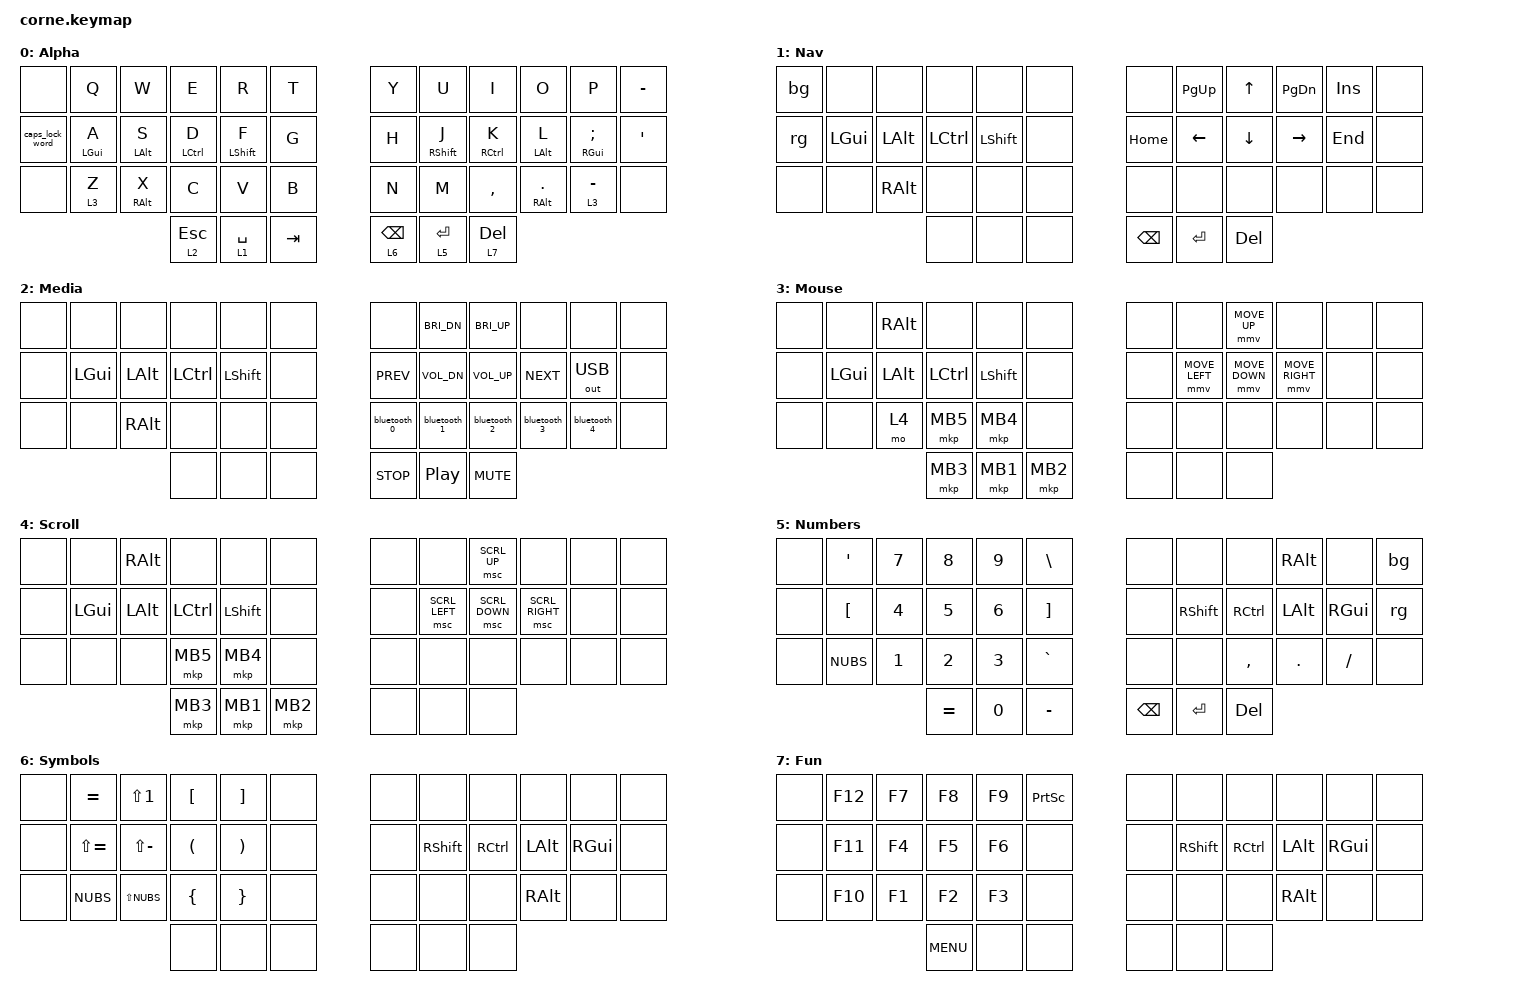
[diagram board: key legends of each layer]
/*
 * Copyright (c) 2020 The ZMK Contributors
 *
 * SPDX-License-Identifier: MIT
 */

#include <behaviors.dtsi>
#include <dt-bindings/zmk/bt.h>
#include <dt-bindings/zmk/keys.h>
#include <dt-bindings/zmk/outputs.h>
#include <dt-bindings/zmk/pointing.h>
#include <dt-bindings/zmk/input_transform.h>

/ {
    macros {
        bt_0: bt_0 {
            compatible = "zmk,behavior-macro";
            #binding-cells = <0>;
            bindings = <&out OUT_BLE &bt BT_SEL 0>;
            label = "BT_0";
        };

        bt_1: bt_1 {
            compatible = "zmk,behavior-macro";
            #binding-cells = <0>;
            bindings = <&out OUT_BLE &bt BT_SEL 1>;
            label = "BT_1";
        };

        bt_2: bt_2 {
            compatible = "zmk,behavior-macro";
            #binding-cells = <0>;
            bindings = <&out OUT_BLE &bt BT_SEL 2>;
            label = "BT_2";
        };

        bt_3: bt_3 {
            compatible = "zmk,behavior-macro";
            #binding-cells = <0>;
            bindings = <&out OUT_BLE &bt BT_SEL 3>;
            label = "BT_3";
        };

        bt_4: bt_4 {
            compatible = "zmk,behavior-macro";
            #binding-cells = <0>;
            bindings = <&out OUT_BLE &bt BT_SEL 4>;
            label = "BT_4";
        };
    };

    behaviors {
        bg: bg {
            compatible = "zmk,behavior-tap-dance";
            label = "BG";
            #binding-cells = <0>;
            bindings = <&none>, <&bootloader>;
        };

        rg: rg {
            compatible = "zmk,behavior-tap-dance";
            label = "RG";
            #binding-cells = <0>;
            bindings = <&none>, <&sys_reset>;
        };

        home_row_mod: home_row_mod {
            compatible = "zmk,behavior-hold-tap";
            label = "HOME_ROW_MOD";
            bindings = <&kp>, <&kp>;

            #binding-cells = <2>;
            tapping-term-ms = <200>;
            quick-tap-ms = <0>;
            require-prior-idle-ms = <150>;
            flavor = "tap-preferred";
        };

        home_row_layer: home_row_layer {
            compatible = "zmk,behavior-hold-tap";
            label = "HOME_ROW_LAYER";
            bindings = <&mo>, <&kp>;

            #binding-cells = <2>;
            tapping-term-ms = <200>;
            quick-tap-ms = <0>;
            require-prior-idle-ms = <150>;
            flavor = "tap-preferred";
        };

        layer_tap_quick: layer_tap_quick {
            compatible = "zmk,behavior-hold-tap";
            label = "LAYER_TAP_QUICK";
            bindings = <&mo>, <&kp>;

            #binding-cells = <2>;
            tapping-term-ms = <200>;
            quick-tap-ms = <0>;
            require-prior-idle-ms = <0>;
        };

        bluetooth_0: bluetooth_0 {
            compatible = "zmk,behavior-tap-dance";
            label = "BLUETOOTH_0";
            #binding-cells = <0>;
            bindings = <&bt_0>, <&bt BT_DISC 0>;
        };

        caps_lock_word: caps_lock_word {
            compatible = "zmk,behavior-mod-morph";
            label = "CAPS_LOCK_WORD";
            bindings = <&kp CAPS>, <&caps_word>;

            #binding-cells = <0>;
            mods = <(MOD_LSFT|MOD_RSFT)>;
        };

        bluetooth_1: bluetooth_1 {
            compatible = "zmk,behavior-tap-dance";
            label = "BLUETOOTH_1";
            #binding-cells = <0>;
            bindings = <&bt_1>, <&bt BT_DISC 1>;
        };

        bluetooth_2: bluetooth_2 {
            compatible = "zmk,behavior-tap-dance";
            label = "BLUETOOTH_2";
            #binding-cells = <0>;
            bindings = <&bt_2>, <&bt BT_DISC 2>;
        };

        bluetooth_3: bluetooth_3 {
            compatible = "zmk,behavior-tap-dance";
            label = "BLUETOOTH_3";
            #binding-cells = <0>;
            bindings = <&bt_3>, <&bt BT_DISC 3>;
        };

        bluetooth_4: bluetooth_4 {
            compatible = "zmk,behavior-tap-dance";
            label = "BLUETOOTH_4";
            #binding-cells = <0>;
            bindings = <&bt_4>, <&bt BT_DISC 4>;
        };
    };

    keymap {
        compatible = "zmk,keymap";

        Alpha {
            // -----------------------------------------------------------------------------------------
            // |  TAB |  Q  |  W  |  E  |  R  |  T  |   |  Y  |  U   |  I  |  O  |  P  | BSPC |
            // | CTRL |  A  |  S  |  D  |  F  |  G  |   |  H  |  J   |  K  |  L  |  ;  |  '   |
            // | SHFT |  Z  |  X  |  C  |  V  |  B  |   |  N  |  M   |  ,  |  .  |  /  | ESC  |
            //                    | GUI | LWR | SPC |   | ENT | RSE  | ALT |

            bindings = <
&none            &kp Q                 &kp W                 &kp E                      &kp R                     &kp T      &kp Y                         &kp U                     &kp I                      &kp O                        &kp P                    &kp MINUS
&caps_lock_word  &home_row_mod LGUI A  &home_row_mod LALT S  &home_row_mod LCTRL D      &home_row_mod LSHFT F     &kp G      &kp H                         &home_row_mod RSHFT J     &home_row_mod RCTRL K      &home_row_mod LALT L         &home_row_mod RGUI SEMI  &kp SQT
&none            &home_row_layer 3 Z   &home_row_mod RALT X  &kp C                      &kp V                     &kp B      &kp N                         &kp M                     &kp COMMA                  &home_row_mod RIGHT_ALT DOT  &home_row_layer 3 MINUS  &none
                                                             &layer_tap_quick 2 ESCAPE  &layer_tap_quick 1 SPACE  &kp TAB    &layer_tap_quick 6 BACKSPACE  &layer_tap_quick 5 ENTER  &layer_tap_quick 7 DELETE
            >;
        };

        Nav {
            bindings = <
&bg    &none     &none     &none      &none      &none    &none          &kp PAGE_UP  &kp UP_ARROW    &kp PAGE_DOWN  &kp INSERT  &none
&rg    &kp LGUI  &kp LALT  &kp LCTRL  &kp LSHFT  &none    &kp HOME       &kp LEFT     &kp DOWN_ARROW  &kp RIGHT      &kp END     &none
&none  &none     &kp RALT  &none      &none      &none    &none          &none        &none           &none          &none       &none
                           &none      &none      &none    &kp BACKSPACE  &kp RET      &kp DELETE
            >;
        };

        Media {
            bindings = <
&none  &none     &none     &none      &none      &none    &none         &kp C_BRI_DN      &kp C_BRI_UP     &none         &none         &none
&none  &kp LGUI  &kp LALT  &kp LCTRL  &kp LSHFT  &none    &kp C_PREV    &kp C_VOL_DN      &kp C_VOLUME_UP  &kp C_NEXT    &out OUT_USB  &none
&none  &none     &kp RALT  &none      &none      &none    &bluetooth_0  &bluetooth_1      &bluetooth_2     &bluetooth_3  &bluetooth_4  &none
                           &none      &none      &none    &kp C_STOP    &kp C_PLAY_PAUSE  &kp C_MUTE
            >;
        };

        Mouse {
            bindings = <
&none  &none     &kp RALT  &none      &none      &none       &none  &none           &mmv MOVE_UP    &none            &none  &none
&none  &kp LGUI  &kp LALT  &kp LCTRL  &kp LSHFT  &none       &none  &mmv MOVE_LEFT  &mmv MOVE_DOWN  &mmv MOVE_RIGHT  &none  &none
&none  &none     &mo 4     &mkp MB5   &mkp MB4   &none       &none  &none           &none           &none            &none  &none
                           &mkp MB3   &mkp MB1   &mkp MB2    &none  &none           &none
            >;
        };

        Scroll {
            bindings = <
&none  &none     &kp RALT  &none      &none      &none       &none  &none           &msc SCRL_UP    &none            &none  &none
&none  &kp LGUI  &kp LALT  &kp LCTRL  &kp LSHFT  &none       &none  &msc SCRL_LEFT  &msc SCRL_DOWN  &msc SCRL_RIGHT  &none  &none
&none  &none     &none     &mkp MB5   &mkp MB4   &none       &none  &none           &none           &none            &none  &none
                           &mkp MB3   &mkp MB1   &mkp MB2    &none  &none           &none
            >;
        };

        Numbers {
            bindings = <
&none  &kp APOS  &kp N7        &kp N8        &kp N9        &kp BSLH     &none          &none      &none       &kp RALT  &none     &bg
&none  &kp LBKT  &kp NUMBER_4  &kp N5        &kp N6        &kp RBKT     &none          &kp RSHFT  &kp RCTRL   &kp LALT  &kp RGUI  &rg
&none  &kp NUBS  &kp NUMBER_1  &kp NUMBER_2  &kp NUMBER_3  &kp GRAVE    &none          &none      &kp COMMA   &kp DOT   &kp FSLH  &none
                               &kp EQUAL     &kp N0        &kp MINUS    &kp BACKSPACE  &kp ENTER  &kp DELETE
            >;
        };

        Symbols {
            bindings = <
&none  &kp EQUAL      &kp LS(NUMBER_1)  &kp LEFT_BRACKET      &kp RIGHT_BRACKET      &none    &none  &none      &none      &none     &none     &none
&none  &kp LS(EQUAL)  &kp LS(MINUS)     &kp LEFT_PARENTHESIS  &kp RIGHT_PARENTHESIS  &none    &none  &kp RSHFT  &kp RCTRL  &kp LALT  &kp RGUI  &none
&none  &kp NUBS       &kp LS(NUBS)      &kp LEFT_BRACE        &kp RIGHT_BRACE        &none    &none  &none      &none      &kp RALT  &none     &none
                                        &none                 &none                  &none    &none  &none      &none
            >;
        };

        Fun {
            bindings = <
&none  &kp F12  &kp F7  &kp F8      &kp F9  &kp PRINTSCREEN    &none  &none      &none      &none     &none     &none
&none  &kp F11  &kp F4  &kp F5      &kp F6  &none              &none  &kp RSHFT  &kp RCTRL  &kp LALT  &kp RGUI  &none
&none  &kp F10  &kp F1  &kp F2      &kp F3  &none              &none  &none      &none      &kp RALT  &none     &none
                        &kp C_MENU  &none   &none              &none  &none      &none
            >;
        };
    };

    glidepoint_listener {
        compatible = "zmk,input-listener";
        device = <&glidepoint>;
        input-processors = <&zip_xy_transform (INPUT_TRANSFORM_XY_SWAP | INPUT_TRANSFORM_X_INVERT | INPUT_TRANSFORM_Y_INVERT)>;
    };
};
